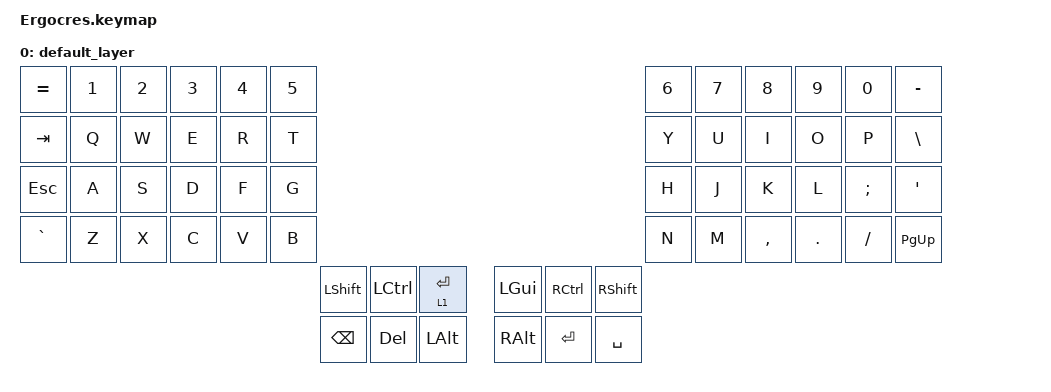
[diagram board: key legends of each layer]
#include <behaviors.dtsi>
#include <dt-bindings/zmk/bt.h>
#include <dt-bindings/zmk/keys.h>
#include <dt-bindings/zmk/pointing.h>

&mt {
    flavor = "balanced";
    quick-tap-ms = <0>;
};

/ {
    combos { compatible = "zmk,combos"; };

    macros {
        to_layer_0: to_layer_0 {
            compatible = "zmk,behavior-macro-one-param";
            #binding-cells = <1>;
            bindings = <&to 0 &macro_param_1to1 &kp MACRO_PLACEHOLDER>;
            label = "TO_LAYER_0";
        };
    };

        lt_to_layer_0: lt_to_layer_0 {
            compatible = "zmk,behavior-hold-tap";
            label = "LAYER_TAP_TO_0";
            bindings = <&mo>, <&to_layer_0>;

            #binding-cells = <2>;
            tapping-term-ms = <200>;
        };
    };

/ {
      keymap {
        compatible = "zmk,keymap";
        default_layer {
            bindings = <
            &kp EQUAL      &kp N1   &kp N2      &kp N3      &kp N4      &kp N5                                                                     &kp N6  &kp N7  &kp N8      &kp N9      &kp N0      &kp MINUS
            &kp TAB        &kp Q    &kp W       &kp E       &kp R       &kp T                                                                      &kp Y   &kp U   &kp I       &kp O       &kp P       &kp BSLH
            &kp ESC        &kp A    &kp S       &kp D       &kp F       &kp G                                                                      &kp H   &kp J   &kp K       &kp L       &kp SEMI    &kp SQT
            &kp GRAVE      &kp Z    &kp X       &kp C       &kp V       &kp B                                                                      &kp N   &kp M   &kp COMMA   &kp DOT     &kp FSLH    &kp PG_UP
                                                                                &kp LSHFT   &kp LCTRL  &lt 1 ENTER &kp LGUI  &kp RCTRL &kp RSHFT
                                                                                &kp BSPC    &kp DEL    &kp LALT    &kp RALT  &kp RET   &kp SPACE
            >;   
        };
    };
};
